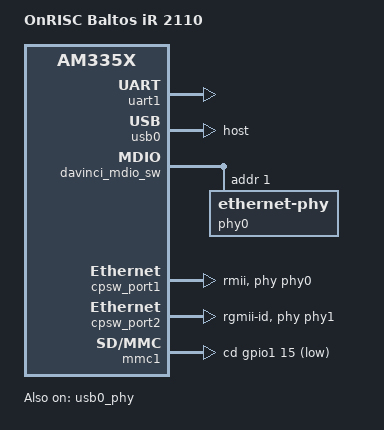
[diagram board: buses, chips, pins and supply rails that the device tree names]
// SPDX-License-Identifier: GPL-2.0-only
/*
 * Copyright (C) 2012 Texas Instruments Incorporated - https://www.ti.com/
 */

/*
 * VScom OnRISC
 * http://www.vscom.de
 */

/dts-v1/;

#include "am335x-baltos.dtsi"
#include "am335x-baltos-leds.dtsi"

/ {
	model = "OnRISC Baltos iR 2110";
};

&am33xx_pinmux {
	uart1_pins: pinmux_uart1_pins {
		pinctrl-single,pins = <
			AM33XX_PADCONF(AM335X_PIN_UART1_RXD, PIN_INPUT, MUX_MODE0)
			AM33XX_PADCONF(AM335X_PIN_UART1_TXD, PIN_INPUT, MUX_MODE0)
			AM33XX_PADCONF(AM335X_PIN_UART1_CTSN, PIN_INPUT_PULLDOWN, MUX_MODE0)
			AM33XX_PADCONF(AM335X_PIN_UART1_RTSN, PIN_OUTPUT_PULLDOWN, MUX_MODE0)
			AM33XX_PADCONF(AM335X_PIN_LCD_VSYNC, PIN_OUTPUT_PULLDOWN, MUX_MODE7)      /* lcd_vsync.gpio2[22] DTR */
			AM33XX_PADCONF(AM335X_PIN_LCD_HSYNC, PIN_INPUT_PULLDOWN, MUX_MODE7)      /* lcd_hsync.gpio2[23] DSR */
			AM33XX_PADCONF(AM335X_PIN_LCD_PCLK, PIN_INPUT_PULLDOWN, MUX_MODE7)      /* lcd_pclk.gpio2[24] DCD */
			AM33XX_PADCONF(AM335X_PIN_LCD_AC_BIAS_EN, PIN_INPUT_PULLDOWN, MUX_MODE7)      /* lcd_ac_bias_en.gpio2[25] RI */
		>;
	};

	mmc1_pins: pinmux_mmc1_pins {
		pinctrl-single,pins = <
			AM33XX_PADCONF(AM335X_PIN_GPMC_AD15, PIN_INPUT, MUX_MODE7)     /* MMC1 CD */
		>;
	};
};

&uart1 {
	pinctrl-names = "default";
	pinctrl-0 = <&uart1_pins>;
	dtr-gpios = <&gpio2 22 GPIO_ACTIVE_LOW>;
	dsr-gpios = <&gpio2 23 GPIO_ACTIVE_LOW>;
	dcd-gpios = <&gpio2 24 GPIO_ACTIVE_LOW>;
	rng-gpios = <&gpio2 25 GPIO_ACTIVE_LOW>;

	status = "okay";
};

&usb0_phy {
	status = "okay";
};

&usb0 {
	status = "okay";
	dr_mode = "host";
};

&davinci_mdio_sw {
	phy0: ethernet-phy@0 {
		reg = <1>;
	};
};

&cpsw_port1 {
	phy-mode = "rmii";
	ti,dual-emac-pvid = <1>;
	phy-handle = <&phy0>;
};

&cpsw_port2 {
	phy-mode = "rgmii-id";
	ti,dual-emac-pvid = <2>;
	phy-handle = <&phy1>;
};

&mmc1 {
	pinctrl-names = "default";
	pinctrl-0 = <&mmc1_pins>;
	cd-gpios = <&gpio1 15 GPIO_ACTIVE_LOW>;
};

&gpio0 {
	gpio-line-names =
		"MDIO",
		"MDC",
		"NC",
		"NC",
		"I2C1_SDA",
		"I2C1_SCL",
		"NC",
		"NC",
		"NC",
		"NC",
		"NC",
		"NC",
		"UART1_CTSN",
		"UART1_RTSN",
		"UART1_RX",
		"UART1_TX",
		"onrisc:blue:wlan",
		"onrisc:green:app",
		"USB0_DRVVBUS",
		"ETH2_INT",
		"NC",
		"RMII1_TXD1",
		"MMC1_DAT0",
		"MMC1_DAT1",
		"NC",
		"NC",
		"MMC1_DAT2",
		"MMC1_DAT3",
		"RMII1_TXD0",
		"NC",
		"GPMC_WAIT0",
		"GPMC_WP_N";
};

&gpio1 {
	gpio-line-names =
		"GPMC_AD0",
		"GPMC_AD1",
		"GPMC_AD2",
		"GPMC_AD3",
		"GPMC_AD4",
		"GPMC_AD5",
		"GPMC_AD6",
		"GPMC_AD7",
		"NC",
		"NC",
		"CONSOLE_RX",
		"CONSOLE_TX",
		"NC",
		"NC",
		"NC",
		"SD_CD",
		"RGMII2_TCTL",
		"RGMII2_RCTL",
		"RGMII2_TD3",
		"RGMII2_TD2",
		"RGMII2_TD1",
		"RGMII2_TD0",
		"RGMII2_TCLK",
		"RGMII2_RCLK",
		"RGMII2_RD3",
		"RGMII2_RD2",
		"RGMII2_RD1",
		"RGMII2_RD0",
		"PMIC_INT1",
		"GPMC_CSN0_Flash",
		"MMC1_CLK",
		"MMC1_CMD";
};

&gpio2 {
	gpio-line-names =
		"GPMC_CSN3_BUS",
		"GPMC_CLK",
		"GPMC_ADVN_ALE",
		"GPMC_OEN_RE_N",
		"GPMC_WE_N",
		"GPMC_BEN0_CLE",
		"NC",
		"NC",
		"NC",
		"NC",
		"NC",
		"NC",
		"NC",
		"NC",
		"NC",
		"NC",
		"NC",
		"NC",
		"SW2_0",
		"SW2_1",
		"RMII1_RXD1",
		"RMII1_RXD0",
		"UART1_DTR",
		"UART1_DSR",
		"UART1_DCD",
		"UART1_RI",
		"MMC0_DAT3",
		"MMC0_DAT2",
		"MMC0_DAT1",
		"MMC0_DAT0",
		"MMC0_CLK",
		"MMC0_CMD";
};

&gpio3 {
	gpio-line-names =
		"onrisc:red:power",
		"RMII1_CRS_DV",
		"RMII1_RXER",
		"RMII1_TXEN",
		"NC",
		"NC",
		"NC",
		"WLAN_IRQ",
		"WLAN_EN",
		"SW2_2",
		"SW2_3",
		"NC",
		"NC",
		"NC",
		"ModeA0",
		"ModeA1",
		"ModeA2",
		"ModeA3",
		"NC",
		"NC",
		"NC",
		"NC",
		"NC",
		"NC",
		"NC",
		"NC",
		"NC",
		"NC",
		"NC",
		"NC",
		"NC",
		"NC";
};
